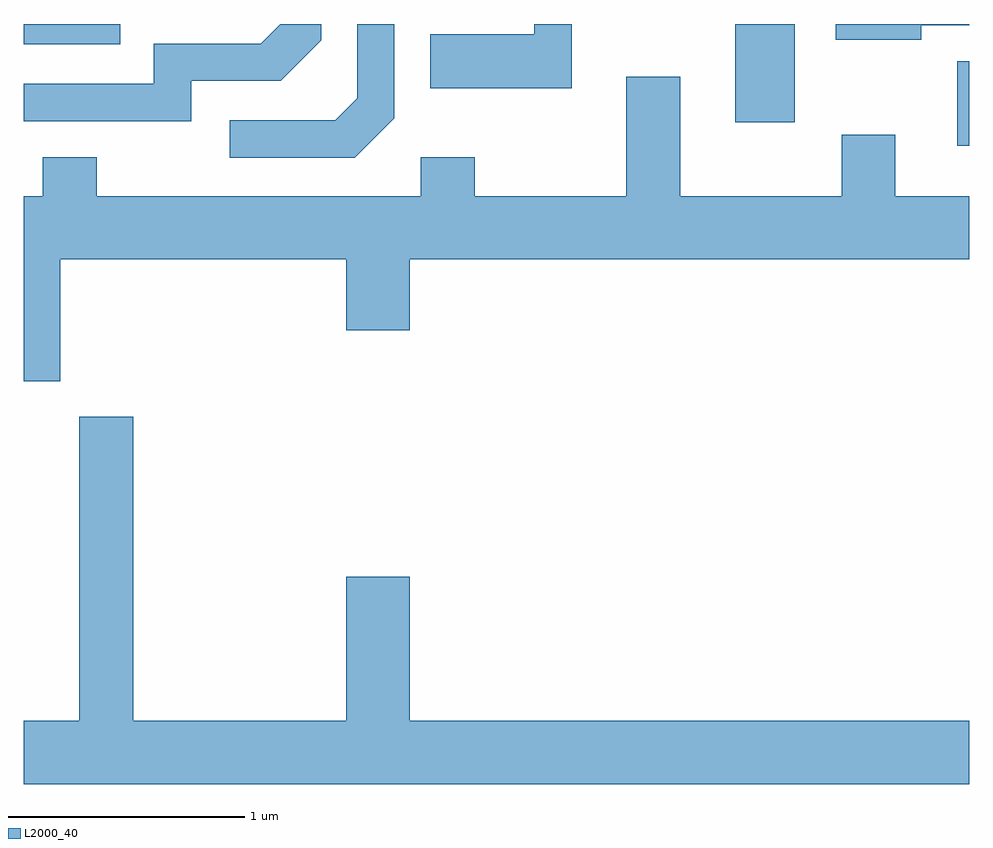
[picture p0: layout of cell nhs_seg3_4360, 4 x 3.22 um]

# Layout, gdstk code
import gdstk
lib = gdstk.Library(unit=1e-6, precision=1e-09)
def R(c, l, rs):  # rectangles x0, y0, x1, y1
    for r in rs: c.add(gdstk.rectangle(r[:2], r[2:], *l))
def P(c, l, *ps):  # polygons
    for p in ps: c.add(gdstk.Polygon(p, *l))
L2000_40 = (2000, 40)

nhs_seg3_4360 = lib.new_cell('nhs_seg3_4360')
R(nhs_seg3_4360, L2000_40, [(317.561,1135.376,317.611,1135.734), (316.621,1135.476,316.874,1135.892), (313.611,1135.806,314.018,1135.892)])
P(nhs_seg3_4360, L2000_40, [(317.409,1135.886),(317.611,1135.886),(317.611,1135.892),(317.046,1135.892),(317.046,1135.826),(317.409,1135.826)],
  [(315.179,1135.494),(315.179,1135.892),(315.021,1135.892),(315.021,1135.577),(314.929,1135.484),(314.483,1135.484),(314.483,1135.326),(315.012,1135.326)],
  [(315.929,1135.892),(315.771,1135.892),(315.771,1135.849),(315.331,1135.849),(315.331,1135.621),(315.929,1135.621)],
  [(314.319,1135.651),(314.697,1135.651),(314.869,1135.824),(314.869,1135.892),(314.696,1135.892),(314.614,1135.809),(314.161,1135.809),(314.161,1135.639),(313.611,1135.639),(313.611,1135.481),(314.319,1135.481)],
  [(313.764,1134.896),(314.976,1134.896),(314.976,1134.596),(315.244,1134.596),(315.244,1134.896),(317.611,1134.896),(317.611,1135.164),(317.299,1135.164),(317.299,1135.424),(317.071,1135.424),(317.071,1135.164),(316.389,1135.164),(316.389,1135.669),(316.161,1135.669),(316.161,1135.164),(315.519,1135.164),(315.519,1135.329),(315.291,1135.329),(315.291,1135.164),(313.919,1135.164),(313.919,1135.329),(313.691,1135.329),(313.691,1135.164),(313.611,1135.164),(313.611,1134.381),(313.764,1134.381)],
  [(317.611,1132.944),(315.244,1132.944),(315.244,1133.554),(314.976,1133.554),(314.976,1132.944),(314.074,1132.944),(314.074,1134.229),(313.846,1134.229),(313.846,1132.944),(313.611,1132.944),(313.611,1132.676),(317.611,1132.676)])

lib.write_gds('nhs_seg3_4360.gds')
